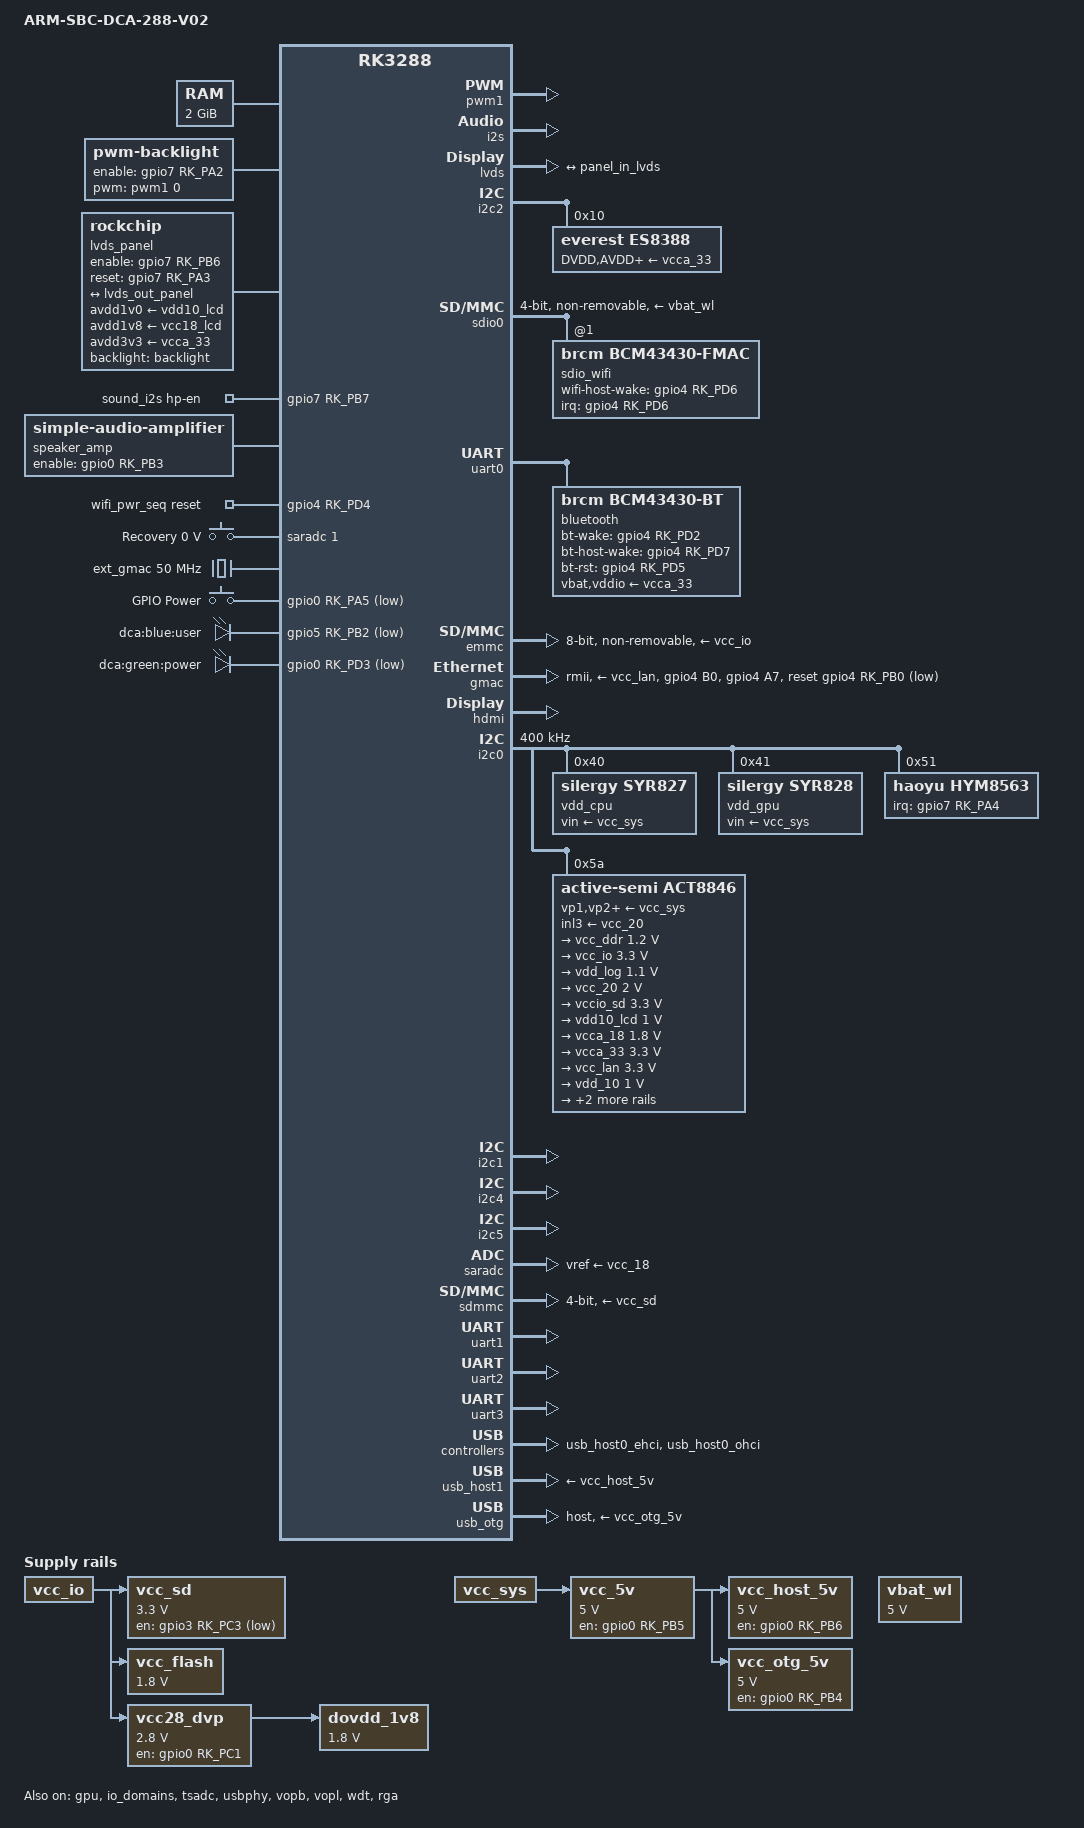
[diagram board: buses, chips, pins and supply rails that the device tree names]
// SPDX-License-Identifier: (GPL-2.0+ OR MIT)
/*
 * Copyright (c) 204 Subair Mullappilly <msubair@hotmail.com>
 */

/dts-v1/;
#include <dt-bindings/input/input.h>
#include "rk3288.dtsi"

/ {
	model = "ARM-SBC-DCA-288-V02";
	compatible = "arm-sbc,arm-sbc-rk3288", "rockchip,rk3288";
	
	chosen {
		stdout-path = &uart2;
	};
	
	memory@0 {
		device_type = "memory";
		reg = <0x0 0x0 0x0 0x80000000>;
	};
		
	backlight: backlight {
		compatible = "pwm-backlight";
		brightness-levels = <0 255>;
		num-interpolated-steps = <255>;
		default-brightness-level = <198>;
		enable-gpios = <&gpio7 RK_PA2 GPIO_ACTIVE_HIGH>;
		pinctrl-names = "default";
		pinctrl-0 = <&bl_en>;
		pwms = <&pwm1 0 1000000 0>;
		post-pwm-on-delay-ms = <10>;
		pwm-off-delay-ms = <10>;
	};

	
	lvds_panel: lvds-panel {
		compatible = "rockchip", "panel-lvds";
		status = "okay";
		pinctrl-names = "default";
		pinctrl-0 = <&lcd_cs>, <&lcd_en>;
		enable-gpios = <&gpio7 RK_PB6 GPIO_ACTIVE_HIGH>;
		reset-gpios = <&gpio7 RK_PA3 GPIO_ACTIVE_HIGH>;
		backlight = <&backlight>;
		avdd1v0-supply = <&vdd10_lcd>;
		avdd1v8-supply = <&vcc18_lcd>;
		avdd3v3-supply = <&vcca_33>;
        	width-mm = <222>;
		height-mm = <125>;
		output = "lvds";
		data-mapping = "vesa-24";

		panel-timing {
                		clock-frequency = <71000000>;
				hactive = <1280>;
				vactive = <800>;
				hsync-len = <10>;
				hfront-porch = <18>;
				hback-porch = <100>;
				vfront-porch = <6>;
				vback-porch = <8>;
				vsync-len = <2>;
            };

        	ports {
			lvds_panel_in: port {
				panel_in_lvds: endpoint {
					remote-endpoint = <&lvds_out_panel>;
				};
			};
		};
	};
	
	sound_i2s {
		compatible = "rockchip,rk3288-hdmi-analog";
		rockchip,model = "I2S";
		rockchip,i2s-controller = <&i2s>;
		rockchip,audio-codec = <&es8388>;
		rockchip,routing = "Analog", "LOUT2",
				   "Analog", "ROUT2";
		rockchip,hp-en-gpios = <&gpio7 RK_PB7 GPIO_ACTIVE_HIGH>;
		pinctrl-names = "default";
		pinctrl-0 = <&hp_det>;
	};
	
	speaker_amp: audio-amplifier-speaker {
		compatible = "simple-audio-amplifier";
		enable-gpios = <&gpio0 RK_PB3 GPIO_ACTIVE_HIGH>;
		sound-name-prefix = "Speaker Amp";
	};
	
	wifi_pwr_seq: wifi-pwrseq {
        	compatible = "mmc-pwrseq-simple";
        	pinctrl-names = "default";
        	reset-gpios = <&gpio4 RK_PD4 GPIO_ACTIVE_HIGH>;
	};
	
	adc-keys {
		compatible = "adc-keys";
		io-channels = <&saradc 1>;
		io-channel-names = "buttons";
		keyup-threshold-microvolt = <1800000>;

		button-recovery {
			label = "Recovery";
			linux,code = <KEY_VENDOR>;
			press-threshold-microvolt = <0>;
		};
	};
	
	ext_gmac: external-gmac-clock {
		compatible = "fixed-clock";
		#clock-cells = <0>;
		clock-frequency = <50000000>;
		clock-output-names = "ext_gmac";
	};


	dovdd_1v8: dovdd-1v8-regulator {
		compatible = "regulator-fixed";
		regulator-name = "dovdd_1v8";
		regulator-min-microvolt = <1800000>;
		regulator-max-microvolt = <1800000>;
		vin-supply = <&vcc28_dvp>;
	};

	ir: ir-receiver {
		compatible = "gpio-ir-receiver";
		pinctrl-names = "default";
		pinctrl-0 = <&ir_int>;
	};

	keys: gpio-keys {
		compatible = "gpio-keys";

		key-power {
			wakeup-source;
			gpios = <&gpio0 RK_PA5 GPIO_ACTIVE_LOW>;
			label = "GPIO Power";
			linux,code = <KEY_POWER>;
			pinctrl-names = "default";
			pinctrl-0 = <&pwr_key>;
		};
	};

	leds {
		compatible = "gpio-leds";

		work_led: led-0 {
			gpios = <&gpio5 RK_PB2 GPIO_ACTIVE_LOW>;
			label = "dca:blue:user";
			linux,default-trigger = "rc-feedback";
			pinctrl-names = "default";
			pinctrl-0 = <&work_led_pin>;
		};

		power_led: led-1 {
			gpios = <&gpio0 RK_PD3 GPIO_ACTIVE_LOW>;
			label = "dca:green:power";
			linux,default-trigger = "default-on";
			pinctrl-names = "default";
			pinctrl-0 = <&power_led_pin>;
		};
	};

	vbat_wl: vcc_sys: vsys-regulator {
		compatible = "regulator-fixed";
		regulator-name = "vcc_sys";
		regulator-min-microvolt = <5000000>;
		regulator-max-microvolt = <5000000>;
		regulator-always-on;
		regulator-boot-on;
	};

	vcc_sd: sdmmc-regulator {
		compatible = "regulator-fixed";
		gpio = <&gpio3 RK_PC3 GPIO_ACTIVE_LOW>;
		pinctrl-names = "default";
		pinctrl-0 = <&sdmmc_pwr>;
		regulator-name = "vcc_sd";
		regulator-min-microvolt = <3300000>;
		regulator-max-microvolt = <3300000>;
		startup-delay-us = <100000>;
		vin-supply = <&vcc_io>;
	};

	vcc_flash: flash-regulator {
		compatible = "regulator-fixed";
		regulator-name = "vcc_flash";
		regulator-min-microvolt = <1800000>;
		regulator-max-microvolt = <1800000>;
		vin-supply = <&vcc_io>;
	};

	vcc_5v: usb-regulator {
		compatible = "regulator-fixed";
		enable-active-high;
		gpio = <&gpio0 RK_PB5 GPIO_ACTIVE_HIGH>;
		pinctrl-names = "default";
		pinctrl-0 = <&host_5v_drv>;
		regulator-name = "vcc_5v";
		regulator-min-microvolt = <5000000>;
		regulator-max-microvolt = <5000000>;
		regulator-always-on;
		regulator-boot-on;
		vin-supply = <&vcc_sys>;
	};

	vcc_host_5v: usb-host-regulator {
		compatible = "regulator-fixed";
		enable-active-high;
		gpio = <&gpio0 RK_PB6 GPIO_ACTIVE_HIGH>;
		pinctrl-names = "default";
		pinctrl-0 = <&host_vbus_drv>;
		regulator-name = "vcc_host_5v";
		regulator-min-microvolt = <5000000>;
		regulator-max-microvolt = <5000000>;
		regulator-always-on;
		vin-supply = <&vcc_5v>;
	};

	vcc_otg_5v: usb-otg-regulator {
		compatible = "regulator-fixed";
		enable-active-high;
		gpio = <&gpio0 RK_PB4 GPIO_ACTIVE_HIGH>;
		pinctrl-names = "default";
		pinctrl-0 = <&otg_vbus_drv>;
		regulator-name = "vcc_otg_5v";
		regulator-min-microvolt = <5000000>;
		regulator-max-microvolt = <5000000>;
		regulator-always-on;
		vin-supply = <&vcc_5v>;
	};

	/*
	 * A TT8142 creates both dovdd_1v8 and vcc28_dvp, controlled
	 * by the dvp_pwr pin.
	 */
	vcc28_dvp: vcc28-dvp-regulator {
		compatible = "regulator-fixed";
		enable-active-high;
		gpio = <&gpio0 RK_PC1 GPIO_ACTIVE_HIGH>;
		pinctrl-names = "default";
		pinctrl-0 = <&dvp_pwr>;
		regulator-name = "vcc28_dvp";
		regulator-min-microvolt = <2800000>;
		regulator-max-microvolt = <2800000>;
		regulator-always-on;
		vin-supply = <&vcc_io>;
	};
};

&cpu0 {
	cpu-supply = <&vdd_cpu>;
};

&cpu1 {
	cpu-supply = <&vdd_cpu>;
};

&cpu2 {
	cpu-supply = <&vdd_cpu>;
};

&cpu3 {
	cpu-supply = <&vdd_cpu>;
};

&pwm1 {
	status = "okay";
	pinctrl-names = "default";
	pinctrl-0 = <&pwm1_pin>;
};

&i2s {
    	status="okay";
};

&lvds {
	status = "okay";

	ports {
		lvds_out: port@1 {
			reg = <1>;
			#address-cells = <1>;
			#size-cells = <0>;

			lvds_out_panel: endpoint@0 {
				reg = <0>;
				remote-endpoint = <&panel_in_lvds>;
			};
		};
	};
};

&i2c2 {
	status = "okay";

	es8388: es8388@10 {
		compatible = "everest,es8388", "everest,es8328";
		reg = <0x10>;
		DVDD-supply = <&vcca_33>;
		AVDD-supply = <&vcca_33>;
		PVDD-supply = <&vcca_33>;
		HPVDD-supply = <&vcca_33>;
		clocks = <&cru SCLK_I2S0_OUT>;
		//clock-names = "mclk";
		clock-names = "i2s_clk_out";
		//#sound-dai-cells = <0>;
	};
};

&sdio0 {
    	status = "okay";

    	sdio_wifi: sdio_wifi@1 {
        	compatible = "brcm,bcm43430-fmac";
        	pinctrl-names = "default";
        	pinctrl-0 = <&wifi_pwr_seq>;
        	interrupt-parent = <&gpio4>;
        	interrupts = <RK_PD6 GPIO_ACTIVE_HIGH>;
        	wifi-host-wake-gpios = <&gpio4 RK_PD6 GPIO_ACTIVE_HIGH>;
    	};
};

&uart0 {
	status = "okay";
	pinctrl-names = "default";
	pinctrl-0 = <&uart0_xfer>, <&uart0_cts>, <&uart0_rts>;	
	uart-has-rtscts;
	
	bluetooth {
            compatible = "brcm,bcm43430-bt";
            vbat-supply = <&vcca_33>;
	    vddio-supply = <&vcca_33>;
            bt-wake-gpios = <&gpio4 RK_PD2 GPIO_ACTIVE_HIGH>;
            bt-host-wake-gpios = <&gpio4 RK_PD7 GPIO_ACTIVE_HIGH>;
            bt-rst-gpios = <&gpio4 RK_PD5 GPIO_ACTIVE_HIGH>;
        };
};

&emmc {
	bus-width = <8>;
	cap-mmc-highspeed;
	disable-wp;
	non-removable;
	pinctrl-names = "default";
	pinctrl-0 = <&emmc_clk>, <&emmc_cmd>, <&emmc_pwr>, <&emmc_bus8>;
	vmmc-supply = <&vcc_io>;
	vqmmc-supply = <&vcc_flash>;
	status = "okay";
};

&gmac {
	assigned-clocks = <&cru SCLK_MAC>;
	assigned-clock-parents = <&ext_gmac>;
	clock_in_out = "input";
	pinctrl-names = "default";
	pinctrl-0 = <&rmii_pins>, <&phy_rst>, <&phy_crs>;
	phy-supply = <&vcc_lan>;
	phy-mode = "rmii";
	snps,reset-active-low;
	snps,reset-delays-us = <0 10000 1000000>;
	snps,reset-gpio = <&gpio4 RK_PB0 GPIO_ACTIVE_LOW>;
	tx_delay = <0x30>;
	rx_delay = <0x10>;
	status = "okay";
};

&gpu {
	mali-supply = <&vdd_gpu>;
	status = "okay";
};

&hdmi {
	ddc-i2c-bus = <&i2c5>;
	#sound-dai-cells = <0>;
	status = "okay";
};

&i2c0 {
	clock-frequency = <400000>;
	status = "okay";

	vdd_cpu: syr827@40 {
		compatible = "silergy,syr827";
		fcs,suspend-voltage-selector = <1>;
		reg = <0x40>;
		regulator-name = "vdd_cpu";
		regulator-min-microvolt = <850000>;
		regulator-max-microvolt = <1350000>;
		regulator-always-on;
		regulator-boot-on;
		regulator-enable-ramp-delay = <300>;
		regulator-ramp-delay = <8000>;
		vin-supply = <&vcc_sys>;
	};

	vdd_gpu: syr828@41 {
		compatible = "silergy,syr828";
		fcs,suspend-voltage-selector = <1>;
		reg = <0x41>;
		regulator-name = "vdd_gpu";
		regulator-min-microvolt = <850000>;
		regulator-max-microvolt = <1350000>;
		regulator-always-on;
		vin-supply = <&vcc_sys>;
	};

	hym8563: rtc@51 {
		compatible = "haoyu,hym8563";
		reg = <0x51>;
		#clock-cells = <0>;
		clock-output-names = "xin32k";
		interrupt-parent = <&gpio7>;
		interrupts = <RK_PA4 IRQ_TYPE_EDGE_FALLING>;
		pinctrl-names = "default";
		pinctrl-0 = <&rtc_int>;
	};

	act8846: act8846@5a {
		compatible = "active-semi,act8846";
		reg = <0x5a>;
		pinctrl-names = "default";
		pinctrl-0 = <&pmic_init>, <&pwr_hold>, <&pmic_sleep>;
		system-power-controller;

		vp1-supply = <&vcc_sys>;
		vp2-supply = <&vcc_sys>;
		vp3-supply = <&vcc_sys>;
		vp4-supply = <&vcc_sys>;
		inl1-supply = <&vcc_sys>;
		inl2-supply = <&vcc_sys>;
		inl3-supply = <&vcc_20>;

		regulators {
			vcc_ddr: REG1 {
				regulator-name = "vcc_ddr";
				regulator-min-microvolt = <1200000>;
				regulator-max-microvolt = <1200000>;
				regulator-always-on;
			};

			vcc_io: REG2 {
				regulator-name = "vcc_io";
				regulator-min-microvolt = <3300000>;
				regulator-max-microvolt = <3300000>;
				regulator-always-on;
			};

			vdd_log: REG3 {
				regulator-name = "vdd_log";
				regulator-min-microvolt = <1100000>;
				regulator-max-microvolt = <1100000>;
				regulator-always-on;
			};

			vcc_20: REG4 {
				regulator-name = "vcc_20";
				regulator-min-microvolt = <2000000>;
				regulator-max-microvolt = <2000000>;
				regulator-always-on;
			};

			vccio_sd: REG5 {
				regulator-name = "vccio_sd";
				regulator-min-microvolt = <3300000>;
				regulator-max-microvolt = <3300000>;
				regulator-always-on;
			};

			vdd10_lcd: REG6 {
				regulator-name = "vdd10_lcd";
				regulator-min-microvolt = <1000000>;
				regulator-max-microvolt = <1000000>;
				regulator-always-on;
			};

			vcca_18: REG7 {
				regulator-name = "vcca_18";
				regulator-min-microvolt = <1800000>;
				regulator-max-microvolt = <1800000>;
			};

			vcca_33: REG8 {
				regulator-name = "vcca_33";
				regulator-min-microvolt = <3300000>;
				regulator-max-microvolt = <3300000>;
			};

			vcc_lan: REG9 {
				regulator-name = "vcc_lan";
				regulator-min-microvolt = <3300000>;
				regulator-max-microvolt = <3300000>;
			};

			vdd_10: REG10 {
				regulator-name = "vdd_10";
				regulator-min-microvolt = <1000000>;
				regulator-max-microvolt = <1000000>;
				regulator-always-on;
			};

			vccio_wl: vcc_18: REG11 {
				regulator-name = "vcc_18";
				regulator-min-microvolt = <1800000>;
				regulator-max-microvolt = <1800000>;
				regulator-always-on;
			};

			vcc18_lcd: REG12 {
				regulator-name = "vcc18_lcd";
				regulator-min-microvolt = <1800000>;
				regulator-max-microvolt = <1800000>;
				regulator-always-on;
			};
		};
	};
};

&i2c1 {
	status = "okay";
};

&i2c2 {
	status = "okay";
};

&i2c4 {
	status = "okay";
};

&i2c5 {
	status = "okay";
};

&io_domains {
	status = "okay";

	audio-supply = <&vcca_33>;
	bb-supply = <&vcc_io>;
	dvp-supply = <&dovdd_1v8>;
	flash0-supply = <&vcc_flash>;
	flash1-supply = <&vcc_lan>;
	gpio30-supply = <&vcc_io>;
	gpio1830-supply = <&vcc_io>;
	lcdc-supply = <&vcc_io>;
	sdcard-supply = <&vccio_sd>;
	wifi-supply = <&vccio_wl>;
};

&pinctrl {
	pcfg_output_high: pcfg-output-high {
		output-high;
	};

	pcfg_output_low: pcfg-output-low {
		output-low;
	};

	pcfg_pull_up_drv_12ma: pcfg-pull-up-drv-12ma {
		bias-pull-up;
		drive-strength = <12>;
	};

	act8846 {
		pwr_hold: pwr-hold {
			rockchip,pins = <0 RK_PA1 RK_FUNC_GPIO &pcfg_output_high>;
		};
		
		pmic_init: pmic-init {
			rockchip,pins = <0 RK_PA4 RK_FUNC_GPIO &pcfg_output_low>;
		};
		
		pmic_sleep: pmic-sleep {
			rockchip,pins = <0 RK_PA0 RK_FUNC_GPIO &pcfg_output_low>;
		};
	};

	dvp {
		dvp_pwr: dvp-pwr {
			rockchip,pins = <0 RK_PC1 RK_FUNC_GPIO &pcfg_pull_none>;
		};
	};

	gmac {
		phy_crs: phy-crs {
			rockchip,pins = <4 RK_PA7 RK_FUNC_GPIO &pcfg_pull_up>;
		};

		phy_rst: phy-rst {
			rockchip,pins = <4 RK_PB0 RK_FUNC_GPIO &pcfg_output_high>;
		};
	};
	
	backlight {
		bl_en: bl-en {
			rockchip,pins = <7 RK_PA2 RK_FUNC_GPIO &pcfg_output_high>;
		};
	};

    	lcd {
		lcd_en: lcd-en {
			rockchip,pins = <7 RK_PA3 RK_FUNC_GPIO &pcfg_output_high>;
            };
            
            	lcd_cs:	lcd-cs {
            		rockchip,pins = <7 RK_PB6 RK_FUNC_GPIO &pcfg_pull_up>;
            };
	};
	
	hym8563 {
		rtc_int: rtc-int {
			rockchip,pins = <7 RK_PA4 RK_FUNC_GPIO &pcfg_pull_up>;
		};
	};
	
	ir {
		ir_int: ir-int {
			rockchip,pins = <7 RK_PA0 RK_FUNC_GPIO &pcfg_pull_up>;
		};
	};

	keys {
		pwr_key: pwr-key {
			rockchip,pins = <0 RK_PA5 RK_FUNC_GPIO &pcfg_pull_up>;
		};
	};
	
	sdmmc_pwr {
		sdmmc_pwr: sdmmc-pwr {
			rockchip,pins = <3 RK_PC3 RK_FUNC_GPIO &pcfg_pull_up>;
		};
	};
	
	leds {
		power_led_pin: power-led-pin {
			rockchip,pins = <0 RK_PD3 RK_FUNC_GPIO &pcfg_pull_none>;
		};

		work_led_pin: work-led-pin {
			rockchip,pins = <5 RK_PB2 RK_FUNC_GPIO &pcfg_pull_none>;
		};
	};

	usb_otg {
		otg_vbus_drv: otg-vbus-drv {
			rockchip,pins = <0 RK_PB4 RK_FUNC_GPIO &pcfg_pull_none>;
		};
	};
	
	headphone {
		hp_det: hp-det {
			rockchip,pins = <7 RK_PB7 RK_FUNC_GPIO &pcfg_pull_none>;
		};
	};
		
	usb_host {
		host_vbus_drv: host-vbus-drv {
			rockchip,pins = <0 RK_PB6 RK_FUNC_GPIO &pcfg_pull_none>;
		};
	};
	
	host_5v_en {
		host_5v_drv: host-5v-drv {
			rockchip,pins = <0 RK_PA5 RK_FUNC_GPIO &pcfg_output_high>;
		};
	};
};

&saradc {
	vref-supply = <&vcc_18>;
	status = "okay";
};

&sdio0 {
	bus-width = <4>;
	disable-wp;
	non-removable;
	pinctrl-names = "default";
	pinctrl-0 = <&sdio0_bus4>, <&sdio0_cmd>, <&sdio0_clk>;
	vmmc-supply = <&vbat_wl>;
	vqmmc-supply = <&vccio_wl>;
	status = "okay";
};

&sdmmc {
	bus-width = <4>;
	cap-mmc-highspeed;
	cap-sd-highspeed;
	card-detect-delay = <200>;
	disable-wp;
	pinctrl-names = "default";
	pinctrl-0 = <&sdmmc_clk &sdmmc_cmd &sdmmc_cd &sdmmc_bus4>;
	vmmc-supply = <&vcc_sd>;
	vqmmc-supply = <&vccio_sd>;
	status = "okay";
};

&tsadc {
	rockchip,hw-tshut-mode = <1>; /* tshut mode 0:CRU 1:GPIO */
	rockchip,hw-tshut-polarity = <1>; /* tshut polarity 0:LOW 1:HIGH */
	status = "okay";
};

&uart0 {
	pinctrl-names = "default";
	pinctrl-0 = <&uart0_xfer>, <&uart0_cts>, <&uart0_rts>;
	status = "okay";
};

&uart1 {
	status = "okay";
};

&uart2 {
	status = "okay";
};

&uart3 {
	status = "okay";
};

&usbphy {
	status = "okay";
};

&usb_host0_ehci {
	status = "okay";
};

&usb_host0_ohci {
	status = "okay";
};

&usb_host1 {
	status = "okay";
	vbus-supply = <&vcc_host_5v>;
};

&usb_otg {
	status = "okay";
	dr_mode = "host";
	vbus-supply = <&vcc_otg_5v>;
};

&vopb {
	status = "okay";
};

&vopb_mmu {
	status = "okay";
};

&vopl {
	status = "okay";
};

&vopl_mmu {
	status = "okay";
};

&wdt {
	status = "okay";
};

&rga {
	status = "okay";
};



